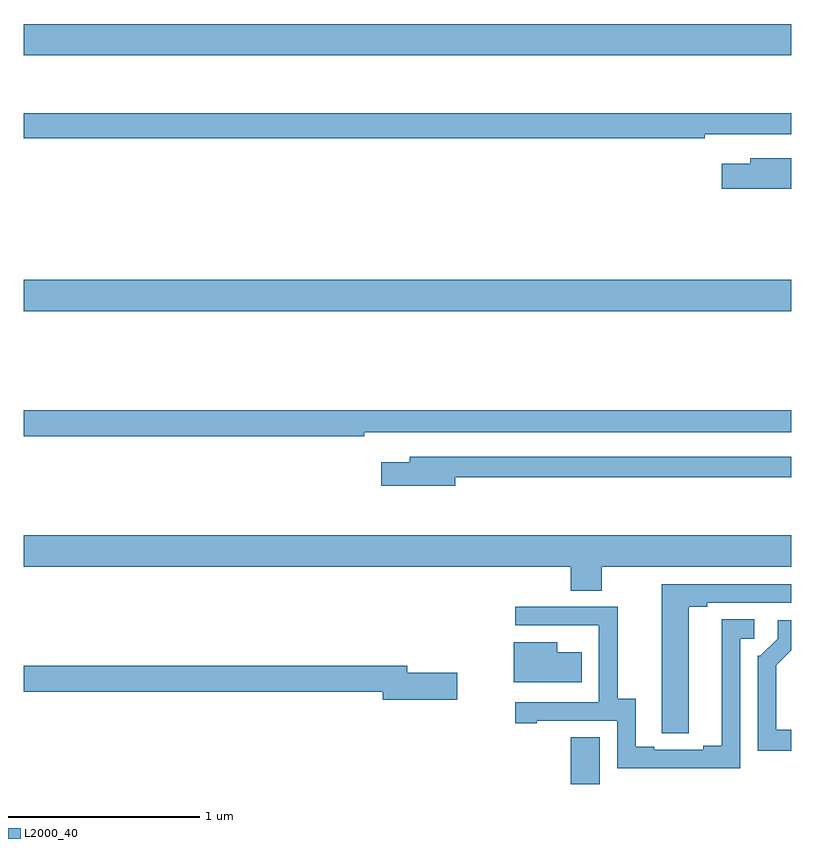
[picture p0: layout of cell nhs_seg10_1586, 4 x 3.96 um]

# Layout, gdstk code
import gdstk
lib = gdstk.Library(unit=1e-6, precision=1e-09)
def R(c, l, rs):  # rectangles x0, y0, x1, y1
    for r in rs: c.add(gdstk.rectangle(r[:2], r[2:], *l))
def P(c, l, *ps):  # polygons
    for p in ps: c.add(gdstk.Polygon(p, *l))
L2000_40 = (2000, 40)

nhs_seg10_1586 = lib.new_cell('nhs_seg10_1586')
R(nhs_seg10_1586, L2000_40, [(195.851,1316.5,196.003,1316.744), (193,1318.964,197,1319.128), (193,1320.296,197,1320.46)])
P(nhs_seg10_1586, L2000_40, [(196.55,1319.886),(197,1319.886),(197,1319.995),(193,1319.995),(193,1319.866),(196.55,1319.866)],
  [(197,1319.76),(196.787,1319.76),(196.787,1319.731),(196.638,1319.731),(196.638,1319.602),(197,1319.602)],
  [(194.774,1318.332),(197,1318.332),(197,1318.448),(193,1318.448),(193,1318.312),(194.774,1318.312)],
  [(195.25,1318.098),(197,1318.098),(197,1318.206),(195.011,1318.206),(195.011,1318.177),(194.862,1318.177),(194.862,1318.055),(195.25,1318.055)],
  [(196.011,1317.632),(197,1317.632),(197,1317.796),(193,1317.796),(193,1317.632),(195.851,1317.632),(195.851,1317.508),(196.011,1317.508)],
  [(196.465,1317.424),(196.561,1317.424),(196.561,1317.444),(197,1317.444),(197,1317.54),(196.325,1317.54),(196.325,1316.872),(196.326,1316.872),(196.326,1316.764),(196.465,1316.764)],
  [(196.734,1317.258),(196.807,1317.258),(196.807,1317.359),(196.637,1317.359),(196.637,1316.699),(196.541,1316.699),(196.541,1316.679),(196.285,1316.679),(196.285,1316.694),(196.189,1316.694),(196.189,1316.945),(196.095,1316.945),(196.095,1317.423),(195.561,1317.423),(195.561,1317.327),(195.995,1317.327),(195.995,1317.326),(195.996,1317.326),(195.996,1316.925),(195.561,1316.925),(195.561,1316.817),(195.673,1316.817),(195.673,1316.829),(196.092,1316.829),(196.092,1316.583),(196.734,1316.583)],
  [(197,1316.782),(196.921,1316.782),(196.921,1317.118),(197,1317.197),(197,1317.354),(196.929,1317.354),(196.929,1317.258),(196.839,1317.168),(196.824,1317.168),(196.824,1316.672),(197,1316.672)],
  [(195.907,1317.187),(195.781,1317.187),(195.781,1317.238),(195.554,1317.238),(195.554,1317.029),(195.907,1317.029)],
  [(195.259,1317.08),(194.998,1317.08),(194.998,1317.116),(193,1317.116),(193,1316.98),(194.87,1316.98),(194.87,1316.938),(195.259,1316.938)])

lib.write_gds('nhs_seg10_1586.gds')
